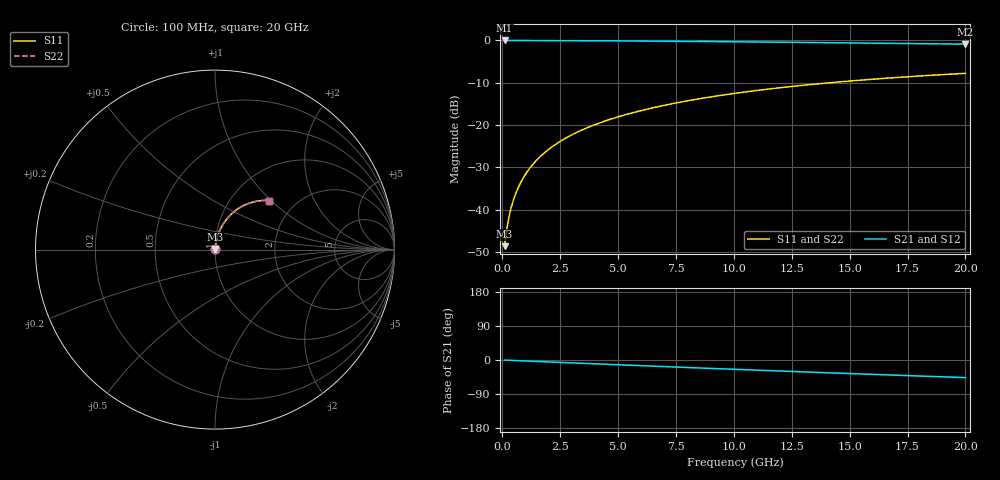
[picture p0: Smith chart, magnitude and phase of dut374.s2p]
! Touchstone file exported from HFSS 2026.1.0
!  File:  C:/ffzhzh/LocalFiles/Ansys_Project_Files/temp_train_BSMRDL_374_1783011843_51716.aedt
!  Generated:  01:05:36 AM Jul  3, 2026
!  Design:  BSMRDL
!  Project:  temp_train_BSMRDL_374_1783011843_51716
! Variables:
!  h_bsmrdl = 4.77um
!  h_ox = 20um
!  h_rdl = 5um
!  h_sub = 80um
!  h_tmrdl = 5um
!  h_tsv = 80um
!  h_via = 3um
!  l_bsmrdl = 694.86um
!  l_sub = 1094.86um
!  l_tmrdl = 200um
!  m_sub = 200um
!  pitch = 52.21um
!  r_tsv = 6um
!  s_tmrdl = 10um
!  w_bsmrdl = 22.95um
!  w_sub = 500um
!  w_tmrdl = 12um
!  x_tsv_center1 = 206um
!  x_tsv_center2 = 923.81um
!  x_tsv_center3 = 1135.81um
!  x_tsv_center4 = 1853.62um
!  x_tsv_center5 = 2065.62um
!  x_tsv_center6 = 2783.43um
# GHz S MA R 50.000000
! Terminal data exported
! Port[1] = BSM_RDL1_1_T1
! Port[2] = BSM_RDL1_1_T2
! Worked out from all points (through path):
!   200 points, 100 MHz to 20 GHz, reference 50 ohm
!   highest |S21| = -0.02 dB at 100 MHz (marker M1); lowest = -0.9 dB at 20 GHz (marker M2)
!   group delay of S21, straight-line fit = 6.45 ps
!   lowest |S11| = -48.6 dB at 100 MHz (marker M3), VSWR 1.01, Z = 50.2 + j0.28 ohm
!   |S11| at or under -10 dB: start of sweep to 14.17 GHz
!   |S22| runs from -48.6 to -7.8 dB; largest |S21 - S12| = 1.1e-14
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0.1  0.003704 48.9  0.9976 -0.3  0.9976 -0.3  0.003703 48.9
! Gamma 0 0 0 0
! Port Impedance 50 0 50 0
0.2  0.006061 64.2  0.9974 -0.5  0.9974 -0.5  0.006061 64.2
0.3  0.00852 70.6  0.9972 -0.8  0.9972 -0.8  0.00852 70.6
0.4  0.011 74.1  0.9971 -1.0  0.9971 -1.0  0.011 74.1
0.5  0.01349 76.3  0.997 -1.3  0.997 -1.3  0.01349 76.3
0.7  0.01853 78.9  0.9968 -1.8  0.9968 -1.8  0.01853 78.9
0.8  0.02106 79.6  0.9967 -2.1  0.9967 -2.1  0.02106 79.6
1  0.02614 80.5  0.9965 -2.6  0.9965 -2.6  0.02614 80.5
1.2  0.03122 81.0  0.9963 -3.1  0.9963 -3.1  0.03122 81.0
1.4  0.03631 81.1  0.996 -3.6  0.996 -3.6  0.03631 81.1
1.7  0.04392 81.1  0.9955 -4.3  0.9955 -4.3  0.04392 81.1
2  0.0515 80.8  0.995 -5.1  0.995 -5.1  0.0515 80.8
2.7  0.06905 79.6  0.9934 -6.9  0.9934 -6.9  0.06905 79.6
3.5  0.08879 78.0  0.9912 -8.9  0.9912 -8.9  0.08879 78.0
4.2  0.1058 76.5  0.989 -10.6  0.989 -10.6  0.1058 76.5
5  0.1248 74.7  0.9862 -12.6  0.9862 -12.6  0.1248 74.7
6.8  0.1665 70.6  0.9789 -17.0  0.9789 -17.0  0.1665 70.6
8.3  0.1997 67.2  0.9719 -20.5  0.9719 -20.5  0.1997 67.2
10.1  0.2379 63.1  0.9626 -24.8  0.9626 -24.8  0.2379 63.1
13.4  0.3023 55.9  0.9435 -32.3  0.9435 -32.3  0.3023 55.9
16.7  0.359 48.9  0.923 -39.5  0.923 -39.5  0.359 48.9
20  0.4077 42.1  0.9024 -46.4  0.9024 -46.4  0.4077 42.1
